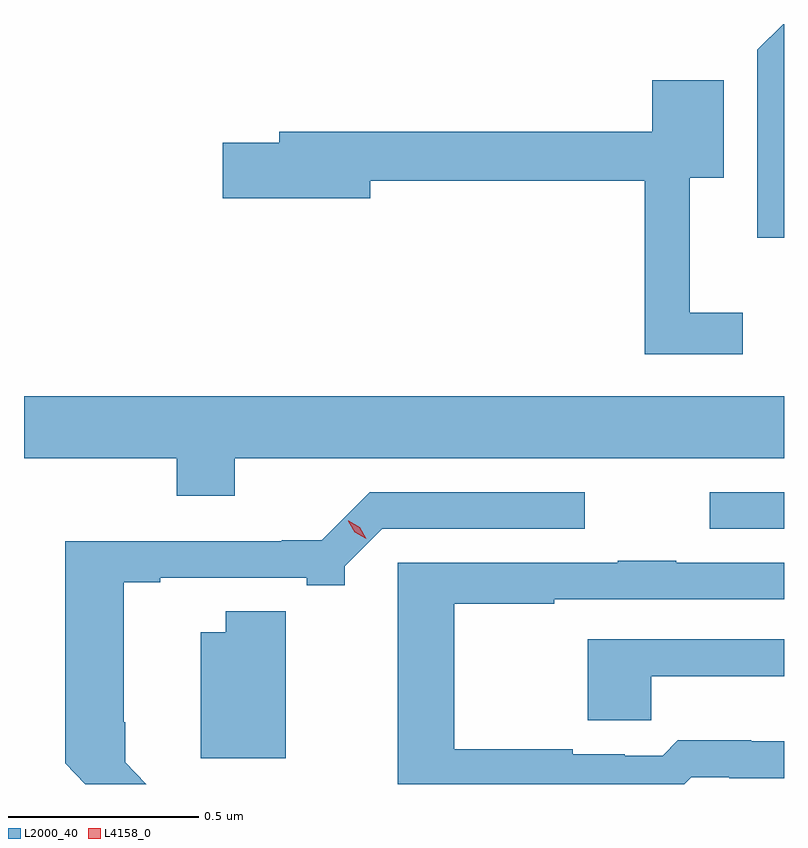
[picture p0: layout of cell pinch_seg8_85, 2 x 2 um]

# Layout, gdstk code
import gdstk
lib = gdstk.Library(unit=1e-6, precision=1e-09)
def R(c, l, rs):  # rectangles x0, y0, x1, y1
    for r in rs: c.add(gdstk.rectangle(r[:2], r[2:], *l))
def P(c, l, *ps):  # polygons
    for p in ps: c.add(gdstk.Polygon(p, *l))
L2000_40 = (2000, 40)
L4158_0 = (4158, 0)

pinch_seg8_85 = lib.new_cell('pinch_seg8_85')
R(pinch_seg8_85, L2000_40, [(1020.651,1112.319,1020.847,1112.415)])
P(pinch_seg8_85, L2000_40, [(1020.847,1113.647),(1020.845,1113.647),(1020.777,1113.579),(1020.777,1113.084),(1020.847,1113.084)],
  [(1020.739,1112.887),(1020.599,1112.887),(1020.599,1113.242),(1020.688,1113.242),(1020.688,1113.499),(1020.5,1113.499),(1020.5,1113.364),(1019.519,1113.364),(1019.519,1113.335),(1019.37,1113.335),(1019.37,1113.188),(1019.758,1113.188),(1019.758,1113.235),(1020.481,1113.235),(1020.481,1112.778),(1020.739,1112.778)],
  [(1019.401,1112.504),(1020.847,1112.504),(1020.847,1112.668),(1018.847,1112.668),(1018.847,1112.504),(1019.249,1112.504),(1019.249,1112.405),(1019.401,1112.405)],
  [(1019.113,1111.704),(1019.113,1111.81),(1019.11,1111.81),(1019.11,1112.178),(1019.206,1112.178),(1019.206,1112.19),(1019.591,1112.19),(1019.591,1112.17),(1019.691,1112.17),(1019.691,1112.22),(1019.79,1112.319),(1020.322,1112.319),(1020.322,1112.415),(1019.757,1112.415),(1019.63,1112.288),(1019.525,1112.288),(1019.525,1112.286),(1018.955,1112.286),(1018.955,1111.701),(1019.008,1111.647),(1019.169,1111.647)],
  [(1020.603,1111.665),(1020.703,1111.665),(1020.703,1111.662),(1020.847,1111.662),(1020.847,1111.759),(1020.761,1111.759),(1020.761,1111.762),(1020.568,1111.762),(1020.528,1111.722),(1020.428,1111.722),(1020.428,1111.725),(1020.291,1111.725),(1020.291,1111.738),(1019.979,1111.738),(1019.979,1112.121),(1020.242,1112.121),(1020.242,1112.133),(1020.847,1112.133),(1020.847,1112.229),(1020.563,1112.229),(1020.563,1112.234),(1020.409,1112.234),(1020.409,1112.229),(1019.831,1112.229),(1019.831,1111.647),(1020.585,1111.647)],
  [(1019.536,1112.101),(1019.378,1112.101),(1019.378,1112.047),(1019.312,1112.047),(1019.312,1111.715),(1019.536,1111.715)],
  [(1020.497,1111.931),(1020.847,1111.931),(1020.847,1112.028),(1020.331,1112.028),(1020.331,1111.815),(1020.497,1111.815)])
P(pinch_seg8_85, L4158_0, [(1019.748,1112.293),(1019.717,1112.309),(1019.7,1112.339),(1019.7,1112.34),(1019.701,1112.34),(1019.731,1112.323),(1019.748,1112.293),(1019.748,1112.293)])

lib.write_gds('pinch_seg8_85.gds')
